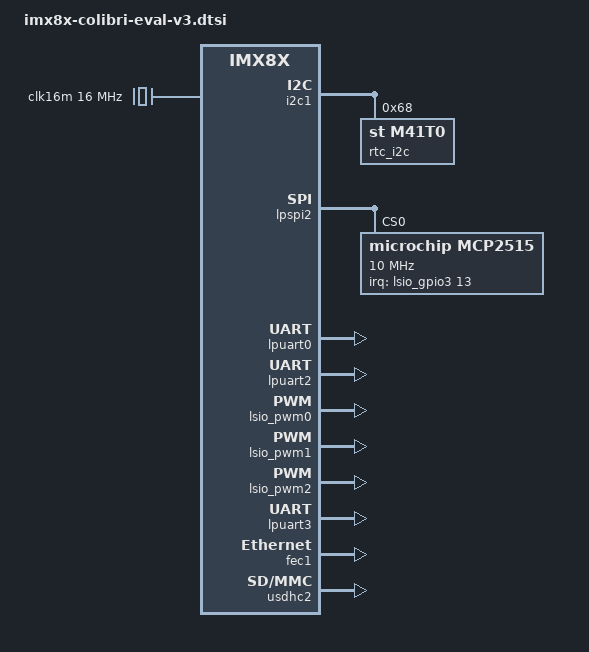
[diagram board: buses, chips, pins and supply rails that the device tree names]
// SPDX-License-Identifier: GPL-2.0-or-later OR MIT
/*
 * Copyright 2019 Toradex
 */

#include <dt-bindings/input/linux-event-codes.h>

/ {
	aliases {
		rtc0 = &rtc_i2c;
		rtc1 = &rtc;
	};

	/* fixed crystal dedicated to mcp25xx */
	clk16m: clock-16mhz {
		compatible = "fixed-clock";
		#clock-cells = <0>;
		clock-frequency = <16000000>;
	};
};

&colibri_gpio_keys {
	status = "okay";
};

&i2c1 {
	status = "okay";

	/* M41T0M6 real time clock on carrier board */
	rtc_i2c: rtc@68 {
		compatible = "st,m41t0";
		reg = <0x68>;
	};
};

&iomuxc {
	pinctrl-names = "default";
	pinctrl-0 = <&pinctrl_ext_io0>, <&pinctrl_hog0>, <&pinctrl_hog1>,
		    <&pinctrl_lpspi2_cs2>;
};

/* Colibri SPI */
&lpspi2 {
	status = "okay";

	mcp2515: can@0 {
		compatible = "microchip,mcp2515";
		reg = <0>;
		interrupt-parent = <&lsio_gpio3>;
		interrupts = <13 IRQ_TYPE_EDGE_FALLING>;
		pinctrl-0 = <&pinctrl_can_int>;
		pinctrl-names = "default";
		clocks = <&clk16m>;
		spi-max-frequency = <10000000>;
	};
};

/* Colibri UART_B */
&lpuart0 {
	status = "okay";
};

/* Colibri UART_C */
&lpuart2 {
	status = "okay";
};

/* Colibri PWM_B */
&lsio_pwm0 {
	status = "okay";
};

/* Colibri PWM_C */
&lsio_pwm1 {
	status = "okay";
};

/* Colibri PWM_D */
&lsio_pwm2 {
	status = "okay";
};

/* Colibri UART_A */
&lpuart3 {
	status = "okay";
};

/* Colibri FastEthernet */
&fec1 {
	status = "okay";
};

/* Colibri SD/MMC Card */
&usdhc2 {
	status = "okay";
};
